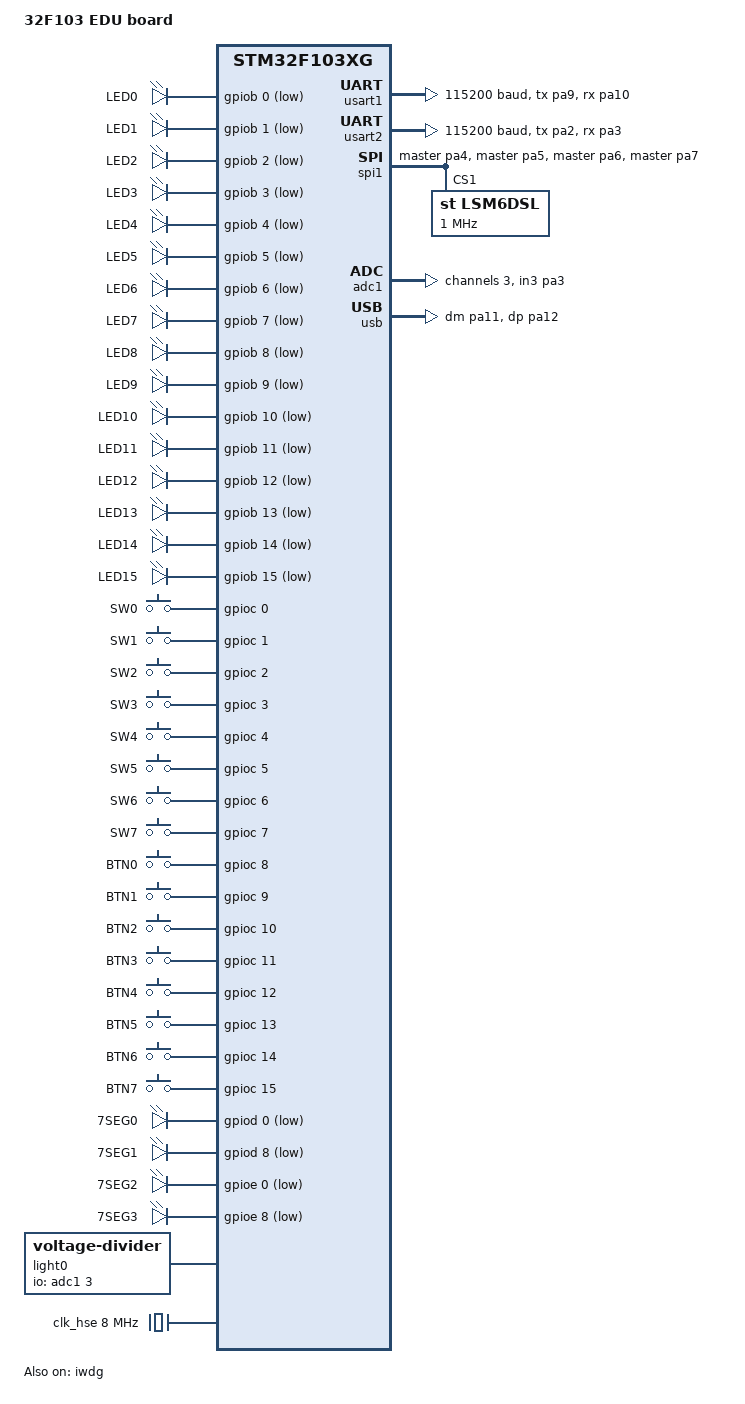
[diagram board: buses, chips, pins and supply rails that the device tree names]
/*
 * Copyright (c) 2017 Linaro Limited
 *
 * SPDX-License-Identifier: Apache-2.0
 */

/dts-v1/;
#include <st/f1/stm32f103Xg.dtsi>
#include <st/f1/stm32f103v(f-g)tx-pinctrl.dtsi>

/ {
	model = "32F103 EDU board";
	compatible = "edu32f103";

	chosen {
		zephyr,console = &usart1;
		zephyr,shell-uart = &usart1;
		//zephyr,console = &cdc_acm_uart0;
		//zephyr,shell-uart = &cdc_acm_uart0;
		zephyr,sram = &sram0;
		zephyr,flash = &flash0;
	};

	leds {
		compatible = "gpio-leds";
		led0: led_0 {
			gpios = <&gpiob 0 GPIO_ACTIVE_LOW>;
			label = "LED0";
		};
		led1: led_1 {
			gpios = <&gpiob 1 GPIO_ACTIVE_LOW>;
			label = "LED1";
		};
		led2: led_2 {
			gpios = <&gpiob 2 GPIO_ACTIVE_LOW>;
			label = "LED2";
		};
		led3: led_3 {
			gpios = <&gpiob 3 GPIO_ACTIVE_LOW>;
			label = "LED3";
		};
		led4: led_4 {
			gpios = <&gpiob 4 GPIO_ACTIVE_LOW>;
			label = "LED4";
		};
		led5: led_5 {
			gpios = <&gpiob 5 GPIO_ACTIVE_LOW>;
			label = "LED5";
		};
		led6: led_6 {
			gpios = <&gpiob 6 GPIO_ACTIVE_LOW>;
			label = "LED6";
		};
		led7: led_7 {
			gpios = <&gpiob 7 GPIO_ACTIVE_LOW>;
			label = "LED7";
		};
		led8: led_8 {
			gpios = <&gpiob 8 GPIO_ACTIVE_LOW>;
			label = "LED8";
		};
		led9: led_9 {
			gpios = <&gpiob 9 GPIO_ACTIVE_LOW>;
			label = "LED9";
		};
		led10: led_10 {
			gpios = <&gpiob 10 GPIO_ACTIVE_LOW>;
			label = "LED10";
		};
		led11: led_11 {
			gpios = <&gpiob 11 GPIO_ACTIVE_LOW>;
			label = "LED11";
		};
		led12: led_12 {
			gpios = <&gpiob 12 GPIO_ACTIVE_LOW>;
			label = "LED12";
		};
		led13: led_13 {
			gpios = <&gpiob 13 GPIO_ACTIVE_LOW>;
			label = "LED13";
		};
		led14: led_14 {
			gpios = <&gpiob 14 GPIO_ACTIVE_LOW>;
			label = "LED14";
		};
		led15: led_15 {
			gpios = <&gpiob 15 GPIO_ACTIVE_LOW>;
			label = "LED15";
		};
	};

	gpio_keys {
		compatible = "gpio-keys";
		switch0: switch_0 {
			label = "SW0";
			gpios = <&gpioc 0 GPIO_ACTIVE_HIGH>;
		};
		switch1: switch_1 {
			label = "SW1";
			gpios = <&gpioc 1 GPIO_ACTIVE_HIGH>;
		};
		switch2: switch_2 {
			label = "SW2";
			gpios = <&gpioc 2 GPIO_ACTIVE_HIGH>;
		};
		switch3: switch_3 {
			label = "SW3";
			gpios = <&gpioc 3 GPIO_ACTIVE_HIGH>;
		};
		switch4: switch_4 {
			label = "SW4";
			gpios = <&gpioc 4 GPIO_ACTIVE_HIGH>;
		};
		switch5: switch_5 {
			label = "SW5";
			gpios = <&gpioc 5 GPIO_ACTIVE_HIGH>;
		};
		switch6: switch_6 {
			label = "SW6";
			gpios = <&gpioc 6 GPIO_ACTIVE_HIGH>;
		};
		switch7: switch_7 {
			label = "SW7";
			gpios = <&gpioc 7 GPIO_ACTIVE_HIGH>;
		};
		button0: button_0 {
			label = "BTN0";
			gpios = <&gpioc 8 GPIO_ACTIVE_HIGH>;
		};
		button1: button_1 {
			label = "BTN1";
			gpios = <&gpioc 9 GPIO_ACTIVE_HIGH>;
		};
		button2: button_2 {
			label = "BTN2";
			gpios = <&gpioc 10 GPIO_ACTIVE_HIGH>;
		};
		button3: button_3 {
			label = "BTN3";
			gpios = <&gpioc 11 GPIO_ACTIVE_HIGH>;
		};
		button4: button_4 {
			label = "BTN4";
			gpios = <&gpioc 12 GPIO_ACTIVE_HIGH>;
		};
		button5: button_5 {
			label = "BTN5";
			gpios = <&gpioc 13 GPIO_ACTIVE_HIGH>;
		};
		button6: button_6 {
			label = "BTN6";
			gpios = <&gpioc 14 GPIO_ACTIVE_HIGH>;
		};
		button7: button_7 {
			label = "BTN7";
			gpios = <&gpioc 15 GPIO_ACTIVE_HIGH>;
		};
	};

	seven_segments {
		compatible = "gpio-leds";
		sevensegment0: seven_segment_0 {
			label = "7SEG0";
			gpios = <&gpiod 0 GPIO_ACTIVE_LOW>,
				<&gpiod 1 GPIO_ACTIVE_LOW>,
				<&gpiod 2 GPIO_ACTIVE_LOW>,
				<&gpiod 3 GPIO_ACTIVE_LOW>,
				<&gpiod 4 GPIO_ACTIVE_LOW>,
				<&gpiod 5 GPIO_ACTIVE_LOW>,
				<&gpiod 6 GPIO_ACTIVE_LOW>,
				<&gpiod 7 GPIO_ACTIVE_LOW>;
		};
		sevensegment1: seven_segment_1 {
			label = "7SEG1";
			gpios = <&gpiod 8 GPIO_ACTIVE_LOW>,
				<&gpiod 9 GPIO_ACTIVE_LOW>,
				<&gpiod 10 GPIO_ACTIVE_LOW>,
				<&gpiod 11 GPIO_ACTIVE_LOW>,
				<&gpiod 12 GPIO_ACTIVE_LOW>,
				<&gpiod 13 GPIO_ACTIVE_LOW>,
				<&gpiod 14 GPIO_ACTIVE_LOW>,
				<&gpiod 15 GPIO_ACTIVE_LOW>;
		};
		sevensegment2: seven_segment_2 {
			label = "7SEG2";
			gpios = <&gpioe 0 GPIO_ACTIVE_LOW>,
				<&gpioe 1 GPIO_ACTIVE_LOW>,
				<&gpioe 2 GPIO_ACTIVE_LOW>,
				<&gpioe 3 GPIO_ACTIVE_LOW>,
				<&gpioe 4 GPIO_ACTIVE_LOW>,
				<&gpioe 5 GPIO_ACTIVE_LOW>,
				<&gpioe 6 GPIO_ACTIVE_LOW>,
				<&gpioe 7 GPIO_ACTIVE_LOW>;
		};
		sevensegment3: seven_segment_3 {
			label = "7SEG3";
			gpios = <&gpioe 8 GPIO_ACTIVE_LOW>,
				<&gpioe 9 GPIO_ACTIVE_LOW>,
				<&gpioe 10 GPIO_ACTIVE_LOW>,
				<&gpioe 11 GPIO_ACTIVE_LOW>,
				<&gpioe 12 GPIO_ACTIVE_LOW>,
				<&gpioe 13 GPIO_ACTIVE_LOW>,
				<&gpioe 14 GPIO_ACTIVE_LOW>,
				<&gpioe 15 GPIO_ACTIVE_LOW>;
		};
	};

	light0 {
				compatible = "voltage-divider";
				io-channels = <&adc1 3>;
				output-ohms = <100000>;
				status = "okay";
	};

	aliases {
		led0 = &led0;
		led1 = &led1;
		led2 = &led2;
		led3 = &led3;
		led4 = &led4;
		led5 = &led5;
		led6 = &led6;
		led7 = &led7;
		led8 = &led8;
		led9 = &led9;
		led10 = &led10;
		led11 = &led11;
		led12 = &led12;
		led13 = &led13;
		led14 = &led14;
		led15 = &led15;
		sw0 = &switch0;
		sw1 = &switch1;
		sw2 = &switch2;
		sw3 = &switch3;
		sw4 = &switch4;
		sw5 = &switch5;
		sw6 = &switch6;
		sw7 = &switch7;
		btn0 = &button0;
		btn1 = &button1;
		btn2 = &button2;
		btn3 = &button3;
		btn4 = &button4;
		btn5 = &button5;
		btn6 = &button6;
		btn7 = &button7;
		sevenseg0 = &sevensegment0;
		sevenseg1 = &sevensegment1;
		sevenseg2 = &sevensegment2;
		sevenseg3 = &sevensegment3;
		accel0 = &lsm6dsl;
	};
};

&clk_hse {
	clock-frequency = <DT_FREQ_M(8)>; /* 8MHz oscillator */
	status = "okay";
};

&pll {
	mul = <9>;
	clocks = <&clk_hse>;
	status = "okay";
};

&rcc {
	clocks = <&pll>;
	clock-frequency = <DT_FREQ_M(72)>;
	ahb-prescaler = <1>;
	apb1-prescaler = <2>;
	apb2-prescaler = <1>;
};

&usart1 {
	pinctrl-0 = <&usart1_tx_pa9 &usart1_rx_pa10>;
	pinctrl-names = "default";
	current-speed = <115200>;
	status = "okay";
};

&usart2 {
	pinctrl-0 = <&usart2_tx_pa2 &usart2_rx_pa3>;
	pinctrl-names = "default";
	current-speed = <115200>;
	status = "okay";
};

&spi1 {
	pinctrl-0 = <&spi1_nss_master_pa4 &spi1_sck_master_pa5
               &spi1_miso_master_pa6 &spi1_mosi_master_pa7>;
	pinctrl-names = "default";
	status = "okay";

	/* ST Microelectronics LSM6DSL accel/gyro sensor */
	lsm6dsl: lsm6dsl@1 {
		compatible = "st,lsm6dsl";
		reg = <1>;
		spi-max-frequency = <1000000>;
	};
};


&iwdg {
	status = "okay";
};

&adc1 {
	pinctrl-0 = <&adc1_in3_pa3>;
	pinctrl-names = "default";
	status = "okay";
	#address-cells = <1>;
	#size-cells = <0>;

	channel@3 {
		reg = <3>;
		zephyr,gain = "ADC_GAIN_1";
		zephyr,reference = "ADC_REF_INTERNAL";
		zephyr,acquisition-time = <ADC_ACQ_TIME_MAX>;
		zephyr,resolution = <12>;
	};
};


&dma1 {
	status = "okay";
};

zephyr_udc0: &usb {
	pinctrl-0 = <&usb_dm_pa11 &usb_dp_pa12>;
	pinctrl-names = "default";
	status = "okay";
};

&zephyr_udc0 {
	cdc_acm_uart0: cdc_acm_uart0 {
		compatible = "zephyr,cdc-acm-uart";
	};
};

&flash0 {
	partitions {
		compatible = "fixed-partitions";
		#address-cells = <1>;
		#size-cells = <1>;

		/* Set 2KB of storage at the end of 1024KB flash */
		storage_partition: partition@1f800 {
			label = "storage";
			reg = <0x000ff800 0x00000800>;
		};
	};
};

&pinctrl {
	/* Free up PB3/PB4 (LED4/LED5) by disabling JTAG debugging */
//	swj-cfg = "jtag-disable";
};
